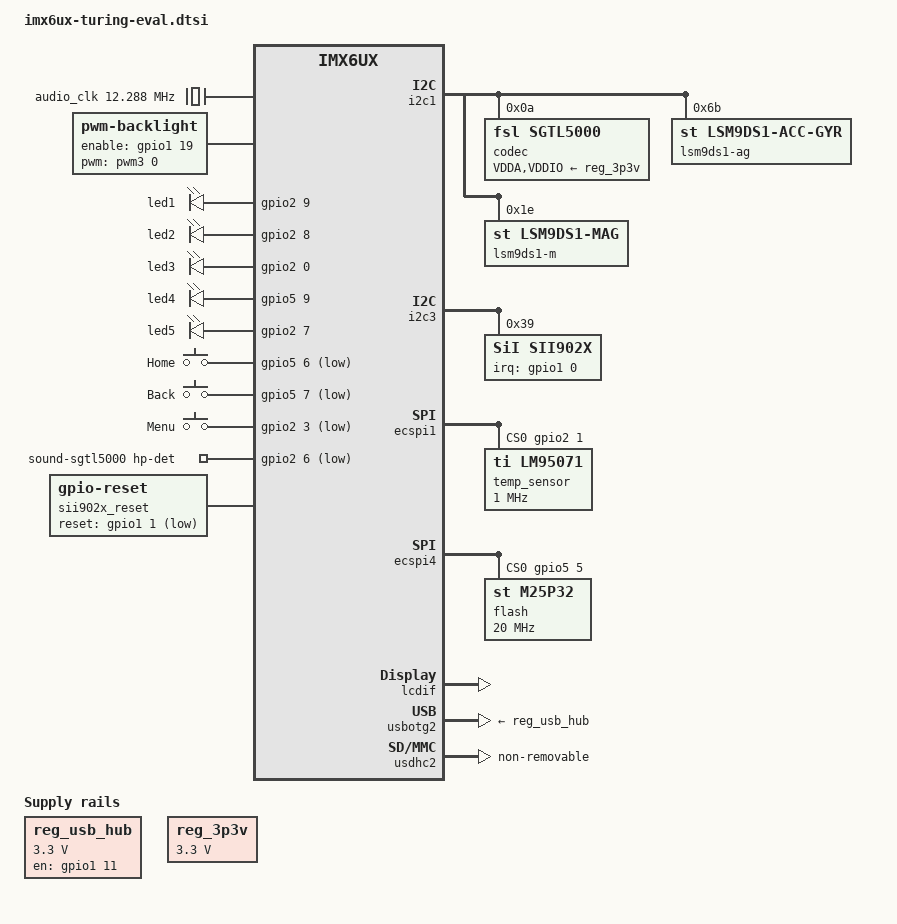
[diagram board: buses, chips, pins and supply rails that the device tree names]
/*
 * Copyright (C) 2017 Turing Computer.
 */

#include "imx6ux-turing.dtsi"

/ {
	chosen {
		stdout-path = &uart4;
	};
	
	clocks {
		#address-cells = <1>;
		#size-cells = <0>;
		audio_clk: clock@0 {
			compatible = "fixed-clock";
			reg = <0>;
			#clock-cells = <0>;
			clock-frequency = <12288000>;
		};
	};
	
	backlight {
		compatible = "pwm-backlight";
		pwms = <&pwm3 0 1000000>;
		brightness-levels = <0 4 8 16 32 64 128 255>;
		default-brightness-level = <7>;
		enable-gpios = <&gpio1 19 GPIO_ACTIVE_HIGH>;
		status = "okay";
	};

	pxp_v4l2 {
		compatible = "fsl,imx6ul-pxp-v4l2", "fsl,imx6sx-pxp-v4l2", "fsl,imx6sl-pxp-v4l2";
		status = "okay";
	};
	
	leds {
		compatible = "gpio-leds";
		status = "okay";
		
		led1 {
			gpios = <&gpio2 9 GPIO_ACTIVE_HIGH>;
			default-state = "on";
			linux,default-trigger = "none";
		};
		
		led2 {
			gpios = <&gpio2 8 GPIO_ACTIVE_HIGH>;
			default-state = "on";
			linux,default-trigger = "none";
		};
		
		led3 {
			gpios = <&gpio2 0 GPIO_ACTIVE_HIGH>;
			default-state = "on";
			linux,default-trigger = "none";
		};
		
		led4 {
			gpios = <&gpio5 9 GPIO_ACTIVE_HIGH>;
			default-state = "on";
			linux,default-trigger = "none";
		};
		
		led5 {
			gpios = <&gpio2 7 GPIO_ACTIVE_HIGH>;
			default-state = "on";
			linux,default-trigger = "none";
		};
	};
	
	gpio-keys {
		compatible = "gpio-keys";
		label = "gpio-keys";

		home {
			label = "Home";
			gpios = <&gpio5 6 GPIO_ACTIVE_LOW>;
			gpio-key,wakeup;
			linux,code = <KEY_HOMEPAGE>;
		};

		back {
			label = "Back";
			gpios = <&gpio5 7 GPIO_ACTIVE_LOW>;
			gpio-key;
			linux,code = <KEY_BACK>;
		};

		menu {
			label = "Menu";
			gpios = <&gpio2 3 GPIO_ACTIVE_LOW>;
			gpio-key;
			linux,code = <KEY_MENU>;
		};
	};
	
	sound-sgtl5000 {
		compatible = "fsl,imx-audio-sgtl5000";
		model = "imx-sgtl5000";
		ssi-controller = <&sai2>;
		audio-codec = <&codec>;
		audio-routing =
			"LINE_IN", "Line In Jack",
			"Headphone Jack", "HP_OUT";
		hp-det-gpios = <&gpio2 6 GPIO_ACTIVE_LOW>;
		fsl,no-audmux;
	};

	sii902x_reset: sii902x-reset {
		compatible = "gpio-reset";
		reset-gpios = <&gpio1 1 GPIO_ACTIVE_LOW>;
		reset-delay-us = <100000>;
		#reset-cells = <0>;
		status = "okay";
		initially-in-reset;
	};
	
	regulators {
		compatible = "simple-bus";
		#address-cells = <1>;
		#size-cells = <0>;

		reg_usb_hub: reg_usb_hub {
			compatible = "regulator-fixed";
			regulator-min-microvolt = <3300000>;
			regulator-max-microvolt = <3300000>;
			reg = <1>;
			regulator-name = "usb_hub_rst";
			gpio = <&gpio1 11 GPIO_ACTIVE_HIGH>;
			enable-active-high;
			regulator-off-in-suspend;
		};

		reg_3p3v: 3p3v {
			compatible = "regulator-fixed";
			regulator-name = "3P3V";
			regulator-min-microvolt = <3300000>;
			regulator-max-microvolt = <3300000>;
			regulator-always-on;
		};
	};
};

&i2c1 {
	codec: sgtl5000@0a {
		compatible = "fsl,sgtl5000";
		reg = <0x0a>;
		clocks = <&audio_clk>;
		status = "okay";
		VDDA-supply = <&reg_3p3v>;
		VDDIO-supply = <&reg_3p3v>;
	};
	
	lsm9ds1-ag@0x6B {
        compatible = "st,lsm9ds1-acc-gyr";
        reg = <0x6B>;
        status = "okay";
        rot-matrix = /bits/ 16 <(1) (0) (0)
                                (0) (1) (0)
                                (0) (0) (1)>;
        g-poll-interval = <100>;
        g-min-interval = <2>;
        g-fs-range = <0>;
        x-poll-interval = <100>;
        x-min-interval = <1>;
        x-fs-range = <0>;
        aa-filter-bw = <0>;
    };

    lsm9ds1-m@0x1E {
        compatible = "st,lsm9ds1-mag";
        reg = <0x1E>;
        status = "okay";
        rot-matrix = /bits/ 16 <(1) (0) (0)
                                (0) (1) (0)
                                (0) (0) (1)>;
        poll-interval = <100>;
        min-interval = <13>;
        fs-range = <0>;
    };
	
};

&i2c3 {
	sii902x@39 {
		compatible = "SiI,sii902x";
		interrupt-parent = <&gpio1>;
		interrupts = <0 2>;
		mode_str ="1366x768@60";
		bits-per-pixel = <16>;
		resets = <&sii902x_reset>;
		reg = <0x39>;
	};
};

&ecspi1 {
	fsl,spi-num-chipselects = <1>;
	cs-gpios = <&gpio2 1 GPIO_ACTIVE_HIGH>;
	
	temp_sensor: lm95071@0 {
		#address-cells = <1>;
		#size-cells = <1>;
		compatible = "ti,lm95071";
		spi-max-frequency = <1000000>;
		reg = <0>;
	};	
};

&ecspi4 {
	fsl,spi-num-chipselects = <1>;
	cs-gpios = <&gpio5 5 GPIO_ACTIVE_HIGH>;

	flash: m25p80@0 {
		#address-cells = <1>;
		#size-cells = <1>;
		compatible = "st,m25p32";
		spi-max-frequency = <20000000>;
		reg = <0>;
	};
};

&lcdif {
	display = <&display>;
	status = "okay";

	/* This is for HDMI display */
	display: display {
		bits-per-pixel = <16>;
		bus-width = <24>;

		display-timings {
			native-mode = <&timing0>;
			timing0: timing0 {
				clock-frequency = <33500000>;
				hactive = <800>;
				vactive = <480>;
				hback-porch = <89>;
				hfront-porch = <164>;
				vback-porch = <23>;
				vfront-porch = <10>;
				hsync-len = <10>;
				vsync-len = <10>;
				hsync-active = <0>;
				vsync-active = <0>;
				de-active = <1>;
				pixelclk-active = <0>;
			};
		};
	};
};

&usbotg2 {
	vbus-supply = <&reg_usb_hub>;
};

/* Wifi */
&usdhc2 {
	non-removable;
	no-1-8-v;
	keep-power-in-suspend;
	max-frequency = <50000000>;
};
